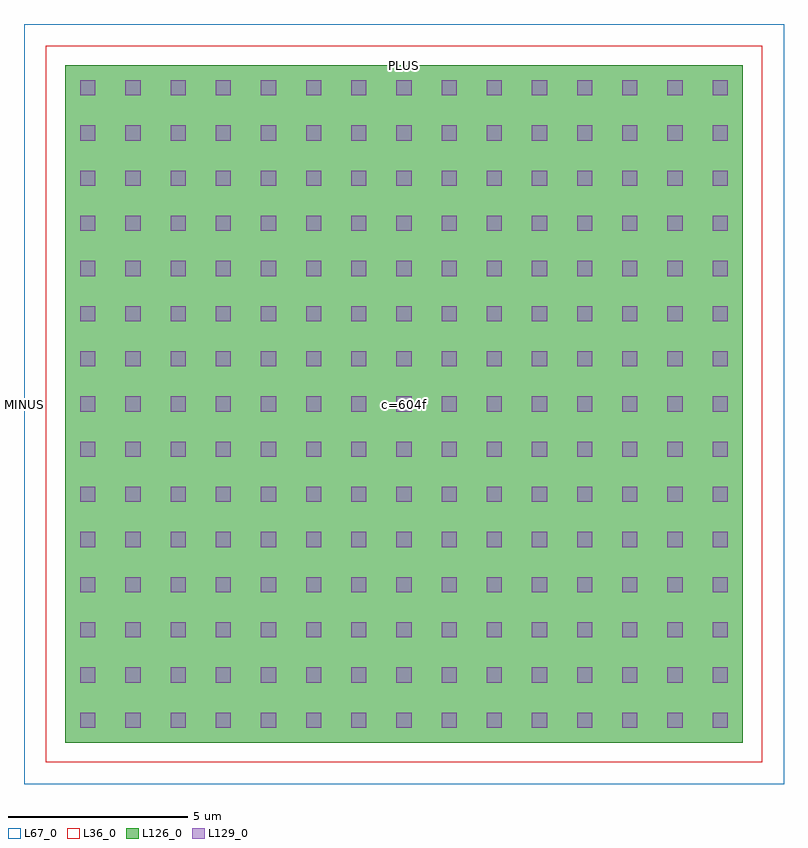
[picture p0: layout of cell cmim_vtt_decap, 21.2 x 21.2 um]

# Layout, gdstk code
import gdstk
lib = gdstk.Library(unit=1e-6, precision=1e-09)
def R(c, l, rs):  # rectangles x0, y0, x1, y1
    for r in rs: c.add(gdstk.rectangle(r[:2], r[2:], *l))
def A(c, l, x, y, w, h, nx, ny, dx, dy):  # array of equal rectangles
    R(c, l, [(x+i*dx, y+j*dy, x+i*dx+w, y+j*dy+h) for i in range(nx) for j in range(ny)])
L36_0 = (36, 0)
L67_0 = (67, 0)
L126_0 = (126, 0)
L129_0 = (129, 0)

cmim_vtt_decap = lib.new_cell('cmim_vtt_decap')
R(cmim_vtt_decap, L36_0, [(0,0,20,20)])
R(cmim_vtt_decap, L67_0, [(-0.6,-0.6,20.6,20.6)])
R(cmim_vtt_decap, L126_0, [(0.55,0.55,19.45,19.45)])
A(cmim_vtt_decap, L129_0, 0.97, 0.97, 0.42, 0.42, 15, 15, 1.26, 1.26)
cmim_vtt_decap.add(gdstk.Label('c=604f', (10,10), layer=63, texttype=0))
cmim_vtt_decap.add(gdstk.Label('cmim', (10,10), layer=63, texttype=0))
cmim_vtt_decap.add(gdstk.Label('MINUS', (-0.6,10), layer=67, texttype=25))
cmim_vtt_decap.add(gdstk.Label('PLUS', (10,19.45), layer=126, texttype=25))

lib.write_gds('cmim_vtt_decap.gds')
